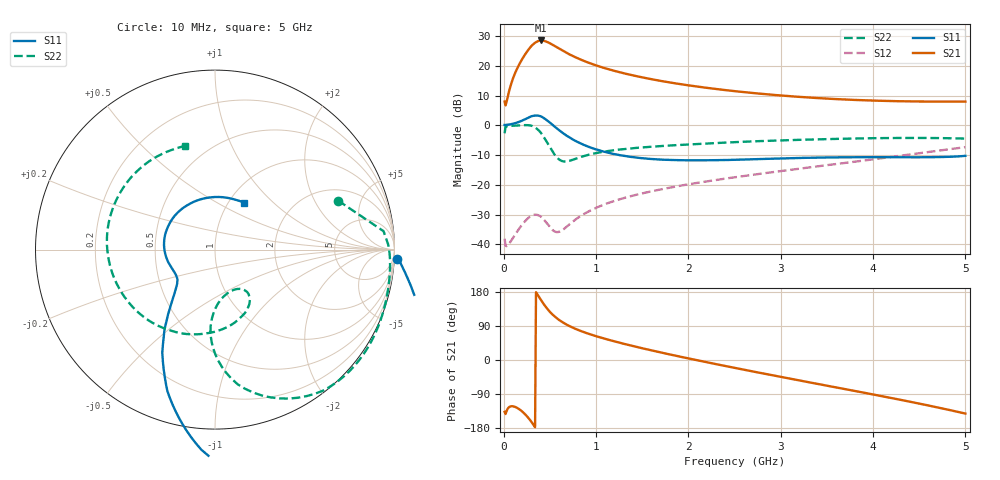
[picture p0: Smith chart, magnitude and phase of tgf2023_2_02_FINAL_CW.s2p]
# HZ S RI R 50
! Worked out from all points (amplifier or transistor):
!   500 points, 10 MHz to 5 GHz, reference 50 ohm
!   highest |S21| = 28.6 dB at 400 MHz (marker M1)
!   |S21| within 3 dB of that: 270.3 MHz to 613.8 MHz (343.6 MHz wide, 77.7 % of centre)
!   unconditionally stable (mu >= 1): 852.4 MHz to 1.827 GHz
!   at 840 MHz: K = 1.00, MSG = 26.2 dB, |S12| = -30.3 dB
!   at 2.51 GHz: K = 0.94, MSG = 14.4 dB, |S12| = -17.4 dB
!   at 5 GHz: K = 0.70, MSG = 7.6 dB, |S12| = -7.3 dB
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1e7  1.016 -0.0533  -1.835 -1.726  -0.0114 0.00513  0.6854 0.2732
7e7  1.039 -0.0858  -2.374 -3.689  -0.00196 0.0107  0.9747 -0.1161
1.4e8  1.092 -0.2032  -5.05 -7.036  0.0037 0.0155  0.9472 -0.3084
2e8  1.145 -0.377  -9.342 -9.066  0.00996 0.019  0.8833 -0.4872
2.5e8  1.167 -0.5975  -14.56 -9.138  0.0163 0.0207  0.7789 -0.6454
3e8  1.112 -0.8921  -20.72 -6.279  0.0231 0.02  0.6058 -0.7842
3.4e8  0.9395 -1.123  -24.52 -1.122  0.0273 0.0159  0.4102 -0.8299
3.7e8  0.7462 -1.256  -25.75 4.007  0.0287 0.012  0.2584 -0.8119
4e8  0.5206 -1.33  -25.13 9.388  0.0284 0.00828  0.1263 -0.7503
4.6e8  0.11 -1.243  -19.36 16.89  0.0231 0.00366  -0.0103 -0.549
4.9e8  -0.0363 -1.149  -15.71 18.81  0.0202 0.00352  -0.0251 -0.4571
5.3e8  -0.1603 -1.006  -11.27 19.66  0.0168 0.00486  -0.0107 -0.3609
6e8  -0.2648 -0.7896  -5.252 18.83  0.0133 0.00936  0.0452 -0.2644
6.7e8  -0.2899 -0.628  -1.467 16.89  0.0124 0.0145  0.1016 -0.2253
7.5e8  -0.2875 -0.5028  1.226 14.6  0.0135 0.0201  0.1483 -0.22
8.5e8  -0.2707 -0.4009  3.19 12.08  0.0167 0.0262  0.1812 -0.2387
1.2e9  -0.2249 -0.2402  5.405 6.246  0.0365 0.0397  0.1744 -0.3428
1.68e9  -0.2094 -0.1662  5.3 2.042  0.0724 0.0401  0.0357 -0.4457
2.51e9  -0.2484 -0.0903  3.503 -1.358  0.1348 -0.00656  -0.2912 -0.4354
3.34e9  -0.2837 0.0414  1.446 -2.538  0.1645 -0.1135  -0.5504 -0.1843
4.17e9  -0.1852 0.2263  -0.4008 -2.543  0.1078 -0.2706  -0.569 0.2306
5e9  0.1637 0.2609  -1.962 -1.57  -0.1313 -0.4115  -0.1653 0.5781
